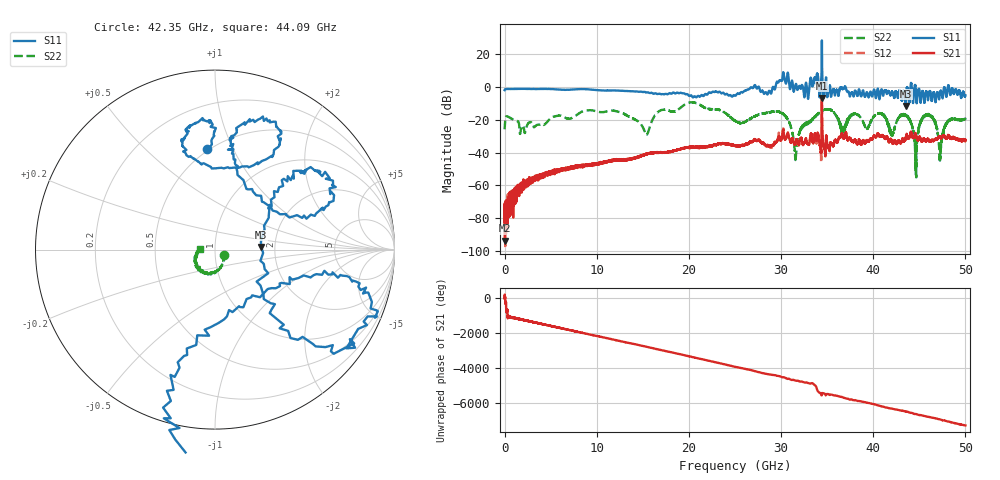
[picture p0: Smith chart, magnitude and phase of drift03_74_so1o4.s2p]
!Created with skrf (http://scikit-rf.org).
# Hz S RI R 50.0
!freq ReS11 ImS11 ReS21 ImS21 ReS12 ImS12 ReS22 ImS22
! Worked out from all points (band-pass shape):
!   10000 points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, 5.3 MHz to 50 GHz, reference 50 ohm
!   highest |S21| = -6.88 dB at 34.43 GHz (marker M1); lowest = -93.6 dB at 40.3 MHz (marker M2)
!   |S21| within 3 dB of the highest: 34.42731 GHz to 34.43511 GHz (7.801 MHz wide, 0.0227 % of centre)
!   lowest |S11| = -11.8 dB at 43.52 GHz (marker M3), VSWR 1.70, Z = 84.7 + j2.71 ohm
!   |S11| at or under -10 dB: 43.48503 GHz to 43.54354 GHz (58.51 MHz wide, 0.134 % of centre); 43.5463 GHz to 43.55393 GHz (7.634 MHz wide, 0.0175 % of centre); 44.70931 GHz to 44.71111 GHz (1.803 MHz wide, 0.00403 % of centre)
!   |S22| runs from -55.1 to -9.4 dB; largest |S21 - S12| = 0.13
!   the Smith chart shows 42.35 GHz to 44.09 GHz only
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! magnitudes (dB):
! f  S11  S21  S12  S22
! 5.3 MHz  -2.1  -72.1  -72.6  -25.9
! 40.3 MHz  -1.7  -93.6  -74.5  -21.4
! 2.43 GHz  -1.4  -57.6  -58.5  -23.7
! 8.34 GHz  -1.5  -48.2  -47.7  -15.3
! 15.4 GHz  -3.4  -40.8  -40.8  -29.1
! 16.67 GHz  -4.4  -39.9  -40.0  -15.3
! 20.47 GHz  -6.5  -36.7  -36.6  -9.5
! 25.01 GHz  -5.5  -35.8  -36.0  -20.8
! 29.93 GHz  4.0  -32.4  -31.8  -15.5
! 31.59 GHz  1.3  -33.9  -34.1  -44.2
! 33.34 GHz  2.7  -30.2  -30.4  -20.0
! 34.43 GHz  28.1  -6.9  -8.9  -14.5
! 36.7 GHz  -1.4  -30.0  -29.7  -27.3
! 37.95 GHz  -3.8  -32.7  -32.7  -16.3
! 41.67 GHz  -2.9  -33.5  -33.5  -23.0
! 43.52 GHz  -11.8  -31.3  -31.5  -17.7
! 44.63 GHz  -3.4  -29.6  -29.6  -49.9
! 45.67 GHz  -4.3  -32.9  -33.0  -17.5
! 46.6 GHz  -3.7  -32.4  -32.4  -20.0
! 47.28 GHz  -2.9  -30.6  -30.7  -41.9
! 48.2 GHz  0.2  -29.8  -29.8  -20.7
! 50 GHz  -5.3  -32.3  -32.6  -19.7
